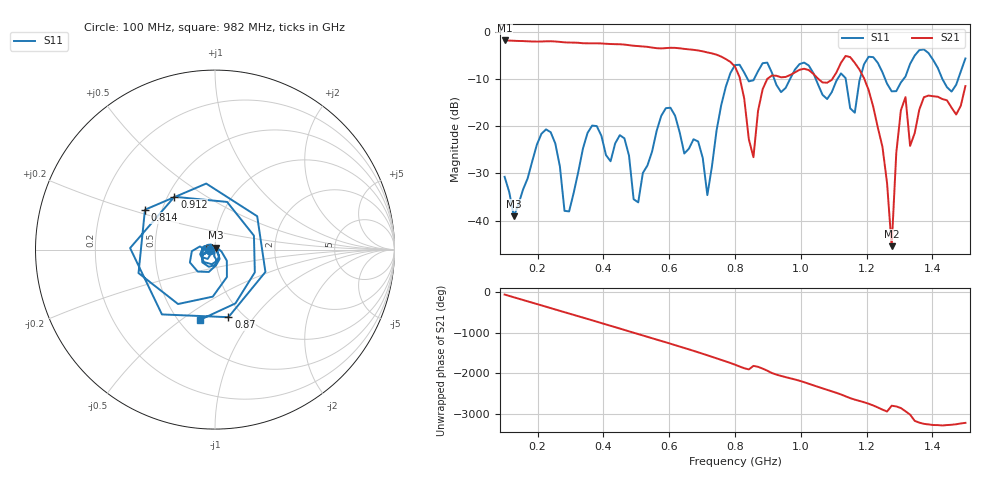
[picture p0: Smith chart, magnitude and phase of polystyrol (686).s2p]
! NanoVNA-App
! Date: 2025-09-25 15:35:13
! Start: 100MHz Stop: 1,5GHz Points: 101
! S-Parameter data: F S11 S21 S12 S22
# Hz S RI R 50
!  Frequency  S11_Real  S11_Imag  S21_Real  S21_Imag  S12_Real  S12_Imag  S22_Real  S22_Imag
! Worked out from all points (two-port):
!   101 points, 100 MHz to 1.5 GHz, reference 50 ohm
!   highest |S21| = -1.80 dB at 100 MHz (marker M1); lowest = -45.4 dB at 1.276 GHz (marker M2)
!   |S21| within 3 dB of the highest: start of sweep to 743 MHz
!   lowest |S11| = -39.1 dB at 128 MHz (marker M3), VSWR 1.02, Z = 50.3 + j1.07 ohm
!   |S11| at or under -10 dB: start of sweep to 779.8 MHz; 1.046 GHz to 1.111 GHz (65.65 MHz wide, 6.09 % of centre); 1.256 GHz to 1.312 GHz (55.53 MHz wide, 4.32 % of centre) (the widest 3 of 7)
!   S12 and S22 are empty: the file has one direction only
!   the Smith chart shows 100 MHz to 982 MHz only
!   S11 on the Smith chart (normalised r, x): 100 MHz: 0.94, -0.01; 814 MHz: 0.40, +0.22; 870 MHz: 0.85, -0.75; 912 MHz: 0.54, +0.37; 982 MHz: 0.64, -0.59
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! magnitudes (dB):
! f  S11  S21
! 100 MHz  -30.7  -1.8
! 128 MHz  -39.1  -1.9
! 212 MHz  -21.6  -2.0
! 282 MHz  -37.9  -2.2
! 338 MHz  -24.7  -2.4
! 464 MHz  -22.6  -2.7
! 506 MHz  -36.1  -3.0
! 576 MHz  -17.8  -3.5
! 716 MHz  -34.6  -4.3
! 800 MHz  -7.0  -7.3
! 814 MHz  -7.0  -9.6
! 856 MHz  -10.2  -26.6
! 870 MHz  -8.3  -16.7
! 912 MHz  -8.6  -9.2
! 982 MHz  -8.0  -8.6
! 1.038 GHz  -8.7  -8.9
! 1.164 GHz  -17.1  -6.6
! 1.192 GHz  -6.9  -9.8
! 1.276 GHz  -12.6  -45.4
! 1.318 GHz  -9.5  -13.8
! 1.332 GHz  -6.8  -24.2
! 1.5 GHz  -5.6  -11.5
